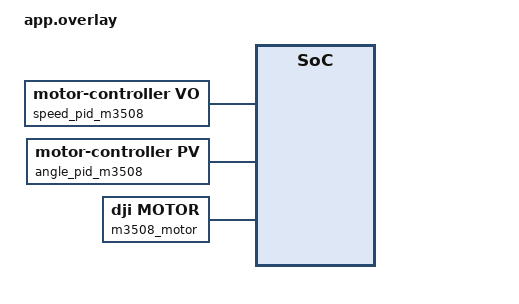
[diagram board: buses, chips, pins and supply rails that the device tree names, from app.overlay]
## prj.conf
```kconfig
# DJI M3508电机控制示例配置 - 简化版

# 基础配置
CONFIG_MAIN_THREAD_PRIORITY=7
CONFIG_SYSTEM_WORKQUEUE_STACK_SIZE=2048

# 电机驱动支持
CONFIG_MOTOR=y
CONFIG_MOTOR_DJI=y

# CAN总线支持
CONFIG_CAN=y
CONFIG_CAN_INIT_PRIORITY=80
```

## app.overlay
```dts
// DJI M3508电机示例 - RoboMaster Board C设备树配置

/ {
    speed_pid_m3508: speed_pid_m3508 {
        compatible = "motor-controller,vo";
        target = "speed";
        k_p = "8";
        k_i = "0.5";
        k_d = "0.1";
        out_max = "2";
    };

    angle_pid_m3508: angle_pid_m3508 {
        compatible = "motor-controller,pv";
        pos_k_p = "10";
        pos_k_i = "0";
        pos_k_d = "2";
        vel_k_p = "8";
        vel_k_i = "0.5";
        vel_k_d = "0.1";
        out_max = "50";
    };

    m3508_motor: m3508_motor {
        compatible = "dji,motor";
        is_m3508;
        id = <1>;
        rx_id = <0x201>;
        tx_id = <0x200>;
        gear_ratio = "19.20";
        status = "okay";
        can_channel = <&can1>;
        // 应当保持外环在前，内环在后
        controllers = <&angle_pid_m3508 &speed_pid_m3508>;
    };
};
```

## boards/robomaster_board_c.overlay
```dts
// DJI M3508电机示例 - RoboMaster Board C设备树配置

/ {
    speed_pid_m3508: speed_pid_m3508 {
        compatible = "pid,single";
        #controller-cells = <0>;
        k_p = <800>;
        k_i = <50>;
        k_d = <10>;
        out_max = <2>;
    };

    angle_pid_m3508: angle_pid_m3508 {
        compatible = "pid,single";
        #controller-cells = <0>;
        k_p = <1200>;
        k_i = <0>;
        k_d = <200>;
        out_max = <50>;
    };

    m3508_motor: m3508_motor {
        compatible = "dji,motor";
        is_m3508;
        id = <1>;
        rx_id = <0x201>;
        tx_id = <0x200>;
        gear_ratio = "19.20";
        status = "okay";
        can_channel = <&can1>;
        // 应当保持外环在前，内环在后
        controllers = <&angle_pid_m3508 &speed_pid_m3508>;
        capabilities = "angle", "speed";
    };
};
```

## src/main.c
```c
/*
 * DJI M3508电机控制示例 - 简化版
 * 自动循环：设置零点 -> 100rpm转10s -> 停下 -> 设置零点 -> 正转180度 -> 循环
 *
 * Copyright (c) 2024 ttwards
 * SPDX-License-Identifier: Apache-2.0
 */

#include <zephyr/kernel.h>
#include <zephyr/device.h>
#include <zephyr/drivers/motor.h>
#include <zephyr/logging/log.h>
#include <math.h>

LOG_MODULE_REGISTER(dji_m3508_demo, LOG_LEVEL_INF);

// 电机设备定义
#define M3508_NODE DT_NODELABEL(m3508_motor)
static const struct device *m3508_motor = DEVICE_DT_GET(M3508_NODE);

// 测试序列状态
typedef enum {
	STATE_SET_ZERO_1 = 0, // 设置零点1
	STATE_SPEED_TEST,     // 100rpm转10秒
	STATE_STOP,           // 停下
	STATE_SET_ZERO_2,     // 设置零点2
	STATE_ANGLE_TEST,     // 正转180度
	STATE_MAX
} test_state_t;

static test_state_t current_state = STATE_SET_ZERO_1;
static uint32_t state_start_time = 0;

/**
 * @brief 电机状态监控线程
 */
void motor_monitor_thread(void *arg1, void *arg2, void *arg3)
{
	ARG_UNUSED(arg1);
	ARG_UNUSED(arg2);
	ARG_UNUSED(arg3);

	while (1) {
		k_msleep(500); // 每秒检查一次

		motor_status_t status;
		int ret = motor_get(m3508_motor, &status);

		if (ret != 0) {
			LOG_ERR("读取电机状态失败: %d", ret);
			continue;
		}

		LOG_INF("motor torque: %.2f, speed: %.2f, angle: %.2f", status.torque, status.rpm,
			status.angle);
	}
}

K_THREAD_DEFINE(motor_monitor, 1024, motor_monitor_thread, NULL, NULL, NULL, 5, 0, 0);

/**
 * @brief 执行测试序列
 */
void execute_test_sequence(void)
{
	uint32_t elapsed_time = k_uptime_get_32() - state_start_time;
	motor_status_t status;

	switch (current_state) {
	case STATE_SET_ZERO_1:
		LOG_INF("=== 步骤1: 设置零点1 ===");
		motor_control(m3508_motor, SET_ZERO);
		k_msleep(500); // 等待零点设置完成

		// 切换到下一状态
		current_state = STATE_SPEED_TEST;
		state_start_time = k_uptime_get_32();
		LOG_INF("=== 步骤2: 开始速度测试 (100 RPM, 10秒) ===");
		break;

	case STATE_SPEED_TEST:
		motor_set_speed(m3508_motor, 100.0f);

		// 每秒显示状态
		if (elapsed_time % 1000 < 50) {
			motor_get(m3508_motor, &status);
			LOG_INF("速度测试 - 目标: 100.0 RPM, 实际: %.1f RPM, 剩余: %d秒",
				status.rpm, (10000 - elapsed_time) / 1000);
		}

		// 10秒后停止
		if (elapsed_time >= 10000) {
			current_state = STATE_STOP;
			state_start_time = k_uptime_get_32();
			LOG_INF("=== 步骤3: 停止电机 ===");
		}
		break;

	case STATE_STOP:
		motor_set_torque(m3508_motor, 0.0f);

		// 停止2秒
		if (elapsed_time >= 2000) {
			current_state = STATE_SET_ZERO_2;
			state_start_time = k_uptime_get_32();
			LOG_INF("=== 步骤4: 设置零点2 ===");
		}
		break;

	case STATE_SET_ZERO_2:
		motor_control(m3508_motor, SET_ZERO);
		k_msleep(500); // 等待零点设置完成

		// 切换到角度测试
		current_state = STATE_ANGLE_TEST;
		state_start_time = k_uptime_get_32();
		LOG_INF("=== 步骤5: 开始角度测试 (正转180度) ===");
		break;

	case STATE_ANGLE_TEST:
		motor_set_angle(m3508_motor, 180.0f);

		// 每500ms显示状态
		if (elapsed_time % 500 < 50) {
			motor_get(m3508_motor, &status);
			LOG_INF("角度测试 - 目标: 180.0°, 实际: %.1f°, 速度: %.1f RPM",
				status.angle, status.rpm);
		}

		// 检查是否到达目标角度或超时
		motor_get(m3508_motor, &status);
		if (fabsf(status.angle - 180.0f) < 5.0f || elapsed_time >= 8000) {
			if (fabsf(status.angle - 180.0f) < 5.0f) {
				LOG_INF("角度测试完成！实际角度: %.1f°", status.angle);
			} else {
				LOG_WRN("角度测试超时！当前角度: %.1f°", status.angle);
			}

			// 等待1秒后重新开始循环
			k_msleep(1000);
			current_state = STATE_SET_ZERO_1;
			state_start_time = k_uptime_get_32();
			LOG_INF("=== 循环完成，重新开始 ===");
		}
		break;

	default:
		current_state = STATE_SET_ZERO_1;
		state_start_time = k_uptime_get_32();
		break;
	}
}

/**
 * @brief 主函数
 */
int main(void)
{
	LOG_INF("=== DJI M3508电机控制示例 - 简化版 ===");
	LOG_INF("测试序列：设置零点 -> 100rpm转10s -> 停下 -> 设置零点 -> 正转180度 -> 循环");

	// 检查电机设备是否就绪
	if (!device_is_ready(m3508_motor)) {
		LOG_ERR("M3508电机设备未就绪");
		return -ENODEV;
	}

	// 启用电机
	motor_control(m3508_motor, ENABLE_MOTOR);
	LOG_INF("电机已启用");

	// 初始化状态
	state_start_time = k_uptime_get_32();

	// 主控制循环
	while (1) {
		k_msleep(50); // 20Hz控制频率
		execute_test_sequence();
	}

	return 0;
}
```
